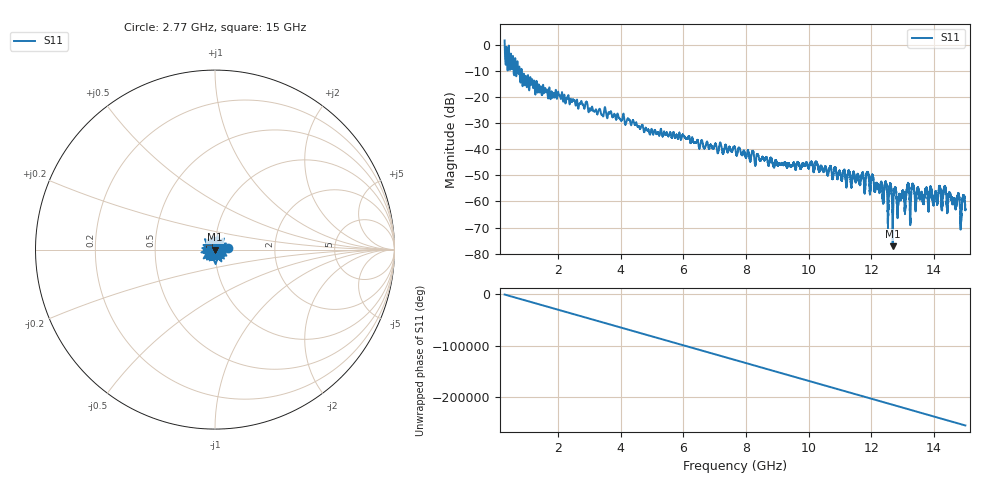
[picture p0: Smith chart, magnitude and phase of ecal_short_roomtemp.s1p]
# GHZ S RI R 50.0
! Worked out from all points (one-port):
!   12801 points, 300 MHz to 15 GHz, reference 50 ohm
!   lowest |S11| = -77.1 dB at 12.68 GHz (marker M1), VSWR 1.00, Z = 50 - j0.0126 ohm
!   |S11| at or under -10 dB: 585.6 MHz to 619.8 MHz (34.27 MHz wide, 5.69 % of centre); 776.9 MHz to 831.5 MHz (54.65 MHz wide, 6.8 % of centre); 843.3 MHz to end of sweep (the widest 3 of 5)
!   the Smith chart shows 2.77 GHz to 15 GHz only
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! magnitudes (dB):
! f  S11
! 300 MHz  1.6
! 402.2 MHz  -9.2
! 702 MHz  -7.1
! 935.1 MHz  -15.0
! 2.138 GHz  -18.7
! 3.975 GHz  -28.4
! 4.983 GHz  -32.3
! 5.812 GHz  -35.6
! 7.65 GHz  -39.3
! 9.488 GHz  -46.2
! 10.25 GHz  -45.0
! 11.32 GHz  -50.7
! 11.88 GHz  -49.0
! 12.68 GHz  -77.1
! 12.77 GHz  -54.9
! 12.88 GHz  -58.1
! 12.95 GHz  -59.0
! 13.04 GHz  -58.0
! 13.16 GHz  -53.5
! 13.33 GHz  -53.6
! 13.61 GHz  -57.6
! 13.92 GHz  -55.6
! 14.04 GHz  -57.8
! 14.34 GHz  -54.4
! 14.65 GHz  -59.9
! 14.76 GHz  -57.5
! 14.84 GHz  -65.9
! 15 GHz  -63.2
